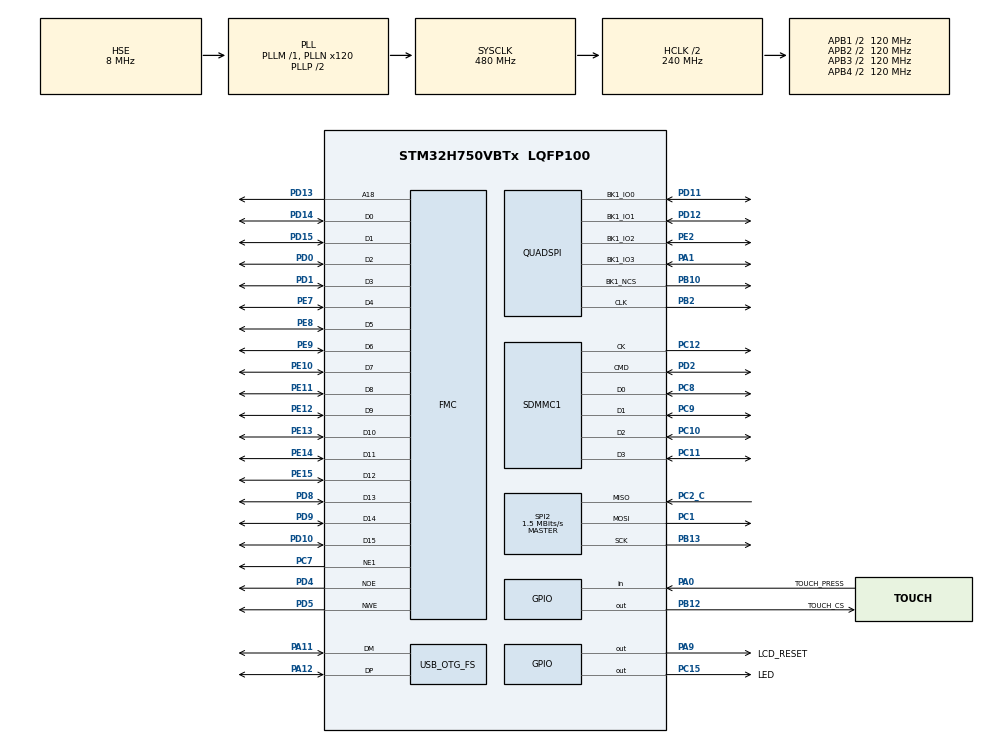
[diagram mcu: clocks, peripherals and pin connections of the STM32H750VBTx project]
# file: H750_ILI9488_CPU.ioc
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Mcu.Family=STM32H7
SH.FMC_D7_DA7.0=FMC_D7,16b-d1
RCC.CortexFreq_Value=480000000
SPI2.VirtualType=VM_MASTER
PB10.Mode=Single Bank 1
RCC.HPRE=RCC_HCLK_DIV2
SH.FMC_D14_DA14.0=FMC_D14,16b-d1
PH0-OSC_IN\ (PH0).Signal=RCC_OSC_IN
PC10.Signal=SDMMC1_D2
PC12.Signal=SDMMC1_CK
RCC.PLLFRACN=0
PA0.GPIO_Label=TOUCH_PRESS
SH.FMC_D6_DA6.0=FMC_D6,16b-d1
PA11.Mode=Device_Only
RCC.PLL2FRACN=0
SH.FMC_D5_DA5.0=FMC_D5,16b-d1
PB13.Signal=SPI2_SCK
SH.FMC_NWE.0=FMC_NWE,Lcd1
RCC.SYSCLKSource=RCC_SYSCLKSOURCE_PLLCLK
ProjectManager.StackSize=0x400
SH.FMC_D9_DA9.0=FMC_D9,16b-d1
PD13.Signal=FMC_A18
PA14\ (JTCK/SWCLK).Signal=DEBUG_JTCK-SWCLK
PA12.Signal=USB_OTG_FS_DP
SH.FMC_D11_DA11.0=FMC_D11,16b-d1
FMC.BankMapConfig=FMC_SWAPBMAP_SDRAM_SRAM
RCC.HCLKFreq_Value=240000000
PE2.Mode=Single Bank 1
PD4.Signal=FMC_NOE
PC7.Signal=FMC_NE1
PD0.Signal=FMC_D2_DA2
PD8.Signal=FMC_D13_DA13
PC2_C.Signal=SPI2_MISO
SPI2.BaudRatePrescaler=SPI_BAUDRATEPRESCALER_32
SH.FMC_A18.0=FMC_A18,A18_1
PH1-OSC_OUT\ (PH1).Mode=HSE-External-Oscillator
RCC.HSE_VALUE=8000000
PB2.Signal=QUADSPI_CLK
SH.FMC_D8_DA8.0=FMC_D8,16b-d1
RCC.DIVM1=1
PB12.GPIO_Label=TOUCH_CS
SH.FMC_D2_DA2.0=FMC_D2,16b-d1
FMC.BusTurnAroundDuration1=1
PE13.Signal=FMC_D10_DA10
FMC.DataSetupTime1=2
PE9.Signal=FMC_D6_DA6
PC9.Mode=SD_4_bits_Wide_bus
SPI2.CalculateBaudRate=1.5 MBits/s
PE2.Signal=QUADSPI_BK1_IO2
PA14\ (JTCK/SWCLK).Mode=Serial_Wire
SH.FMC_D1_DA1.0=FMC_D1,16b-d1
PE10.Signal=FMC_D7_DA7
PA0.Signal=GPIO_Input
RCC.APB3Freq_Value=120000000
Mcu.Package=LQFP100
SPI2.Mode=SPI_MODE_MASTER
SH.FMC_D0_DA0.0=FMC_D0,16b-d1
RCC.D1PPRE=RCC_APB3_DIV2
PD12.Signal=QUADSPI_BK1_IO1
FMC.ExtendedDataSetupTime1=5
USB_OTG_FS.VirtualMode=Device_Only
SH.FMC_D4_DA4.0=FMC_D4,16b-d1
PC11.Mode=SD_4_bits_Wide_bus
FMC.ExtendedAddressSetupTime1=3
RCC.APB4Freq_Value=120000000
SPI2.Direction=SPI_DIRECTION_2LINES
PB13.Mode=Full_Duplex_Master
PE7.Signal=FMC_D4_DA4
PH0-OSC_IN\ (PH0).Mode=HSE-External-Oscillator
PD15.Signal=FMC_D1_DA1
SH.FMC_D3_DA3.0=FMC_D3,16b-d1
RCC.DIVQ1=20
FMC.ExtendedMode1=FMC_EXTENDED_MODE_ENABLE
PA13\ (JTMS/SWDIO).Mode=Serial_Wire
PC11.Signal=SDMMC1_D3
PA9.GPIO_Label=LCD_RESET
SH.FMC_D10_DA10.0=FMC_D10,16b-d1
PC8.Signal=SDMMC1_D0
PC10.Mode=SD_4_bits_Wide_bus
PD1.Signal=FMC_D3_DA3
RCC.D2PPRE2=RCC_APB2_DIV2
RCC.D2PPRE1=RCC_APB1_DIV2
PD9.Signal=FMC_D14_DA14
PD5.Signal=FMC_NWE
VP_RNG_VS_RNG.Mode=RNG_Activate
SH.FMC_NOE.0=FMC_NOE,Lcd1
PH1-OSC_OUT\ (PH1).Signal=RCC_OSC_OUT
PD10.Signal=FMC_D15_DA15
FMC.AddressSetupTime1=1
ProjectManager.TargetToolchain=Makefile
PC15-OSC32_OUT\ (OSC32_OUT).Signal=GPIO_Output
SH.FMC_D15_DA15.0=FMC_D15,16b-d1
SH.FMC_D13_DA13.0=FMC_D13,16b-d1
PA9.Signal=GPIO_Output
RCC.DIVN1=120
PC2_C.Mode=Full_Duplex_Master
FMC.ExtendedBusTurnAroundDuration1=3
RCC.USBFreq_Value=48000000
PE11.Signal=FMC_D8_DA8
PA1.Signal=QUADSPI_BK1_IO3
PB10.Signal=QUADSPI_BK1_NCS
PD2.Mode=SD_4_bits_Wide_bus
PC12.Mode=SD_4_bits_Wide_bus
board=custom
RCC.APB2Freq_Value=120000000
PA1.Mode=Single Bank 1
PE14.Signal=FMC_D11_DA11
PE15.Signal=FMC_D12_DA12
PE8.Signal=FMC_D5_DA5
RCC.ADCFreq_Value=16125000
SH.FMC_D12_DA12.0=FMC_D12,16b-d1
Mcu.Name=STM32H750VBTx
PE12.Signal=FMC_D9_DA9
PD14.Signal=FMC_D0_DA0
PC8.Mode=SD_4_bits_Wide_bus
RCC.SYSCLKFreq_VALUE=480000000
PD12.Mode=Single Bank 1
PA12.Mode=Device_Only
PC15-OSC32_OUT\ (OSC32_OUT).GPIO_Label=LED
PD11.Signal=QUADSPI_BK1_IO0
PB2.Mode=Single Bank 1
PA11.Signal=USB_OTG_FS_DM
ProjectManager.HeapSize=0x200
PD11.Mode=Single Bank 1
NVIC.PriorityGroup=NVIC_PRIORITYGROUP_4
RCC.D3PPRE=RCC_APB4_DIV2
SPI2.DataSize=SPI_DATASIZE_8BIT
PC9.Signal=SDMMC1_D1
PC7.Mode=NorPsramChipSelect1_1
PD2.Signal=SDMMC1_CMD
RCC.APB1Freq_Value=120000000
PC1.Signal=SPI2_MOSI
PB12.Signal=GPIO_Output
PA13\ (JTMS/SWDIO).Signal=DEBUG_JTMS-SWDIO
PC1.Mode=Full_Duplex_Master

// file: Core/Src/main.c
/* USER CODE BEGIN Header */
/**
  ******************************************************************************
  * @file           : main.c
  * @brief          : Main program body
  ******************************************************************************
  * @attention
  *
  * <h2><center>&copy; Copyright (c) 2020 STMicroelectronics.
  * All rights reserved.</center></h2>
  *
  * This software component is licensed by ST under BSD 3-Clause license,
  * the "License"; You may not use this file except in compliance with the
  * License. You may obtain a copy of the License at:
  *                        opensource.org/licenses/BSD-3-Clause
  *
  ******************************************************************************
  */
/* USER CODE END Header */
#include "main.h"
#include "quadspi.h"
#include "rng.h"
#include "sdmmc.h"
#include "spi.h"
#include "usb_otg.h"
#include "gpio.h"
#include "fmc.h"

/* USER CODE BEGIN Includes */
#include <stdio.h>
#include "H750_ILI9488.h"
#include "TouchPanel.h"
#include "Hangle.h"

/* USER CODE END Includes */

void SystemClock_Config(void);

/* USER CODE BEGIN 0 */
void HAL_SYSTICK_Callback(void)
{
	static int cnt = -1000;

	cnt++;
	if(cnt > 500)
	{
		cnt = 0;

		HAL_GPIO_TogglePin(LED_GPIO_Port, LED_Pin);
	}
}

void Demo_Line(void)
{
	uint16_t i, x1, y1, x2, y2, color, w, h;
	uint32_t rn;

	w = LCD_GetWidth();
	h = LCD_GetHeight();

	LCD_Clear(WHITE);

	for(i = 0; i < 5000; i++)
	{
		HAL_RNG_GenerateRandomNumber(&hrng, &rn);
		x1 = rn % w;
		HAL_RNG_GenerateRandomNumber(&hrng, &rn);
		x2 = rn % w;
		HAL_RNG_GenerateRandomNumber(&hrng, &rn);
		y1 = rn % h;
		HAL_RNG_GenerateRandomNumber(&hrng, &rn);
		y2 = rn % h;
		HAL_RNG_GenerateRandomNumber(&hrng, &rn);
		color = rn % 0x10000;

		LCD_draw_line(x1, y1, x2, y2, color);
	}
}

void Demo_Circle(void)
{
	uint16_t i, x, y, r, color, w, h;
	uint32_t rn;

	w = LCD_GetWidth();
	h = LCD_GetHeight();

	LCD_Clear(WHITE);

	for(i = 0; i < 5000; i++)
	{
		HAL_RNG_GenerateRandomNumber(&hrng, &rn);
		x = rn % w;
		HAL_RNG_GenerateRandomNumber(&hrng, &rn);
		y = rn % h;
		HAL_RNG_GenerateRandomNumber(&hrng, &rn);
		r = rn % 100;
		HAL_RNG_GenerateRandomNumber(&hrng, &rn);
		color = rn % 0x10000;

		LCD_draw_circle(x, y, r, color);
	}
}

void Demo_Fill(void)
{
	uint16_t i, x1, y1, x2, y2, color, w, h;
	uint32_t rn;

	w = LCD_GetWidth();
	h = LCD_GetHeight();

	LCD_Clear(WHITE);

	for(i = 0; i < 5000; i++)
	{
		HAL_RNG_GenerateRandomNumber(&hrng, &rn);
		x1 = rn % w;
		HAL_RNG_GenerateRandomNumber(&hrng, &rn);
		x2 = rn % w;
		HAL_RNG_GenerateRandomNumber(&hrng, &rn);
		y1 = rn % h;
		HAL_RNG_GenerateRandomNumber(&hrng, &rn);
		y2 = rn % h;
		HAL_RNG_GenerateRandomNumber(&hrng, &rn);
		color = rn % 0x10000;

		LCD_fill(x1, y1, x2, y2, color);
	}
}

void Demo_Text(void)
{
	LCD_Clear(YELLOW);

	LCD_puts26x48(0, 0,   (uint8_t *)"Hello World.", TFT_STRING_MODE_BACKGROUND);
	LCD_puts18x32(0, 48,  (uint8_t *)"Hello World.", TFT_STRING_MODE_BACKGROUND);
	LCD_puts14x24(0, 80,  (uint8_t *)"Hello World.", TFT_STRING_MODE_BACKGROUND);
	LCD_puts8x16( 0, 104, (uint8_t *)"Hello World.", TFT_STRING_MODE_BACKGROUND);

	LCD_SetTextColor(BLUE);
	LCD_SetBackgroundColor(GREEN);
	LCD_puts14x24(0, 120,  (uint8_t *)"Blue Text.", TFT_STRING_MODE_BACKGROUND);
	LCD_puts14x24(0, 150,  (uint8_t *)"No Background Text.", TFT_STRING_MODE_NO_BACKGROUND);

	DisplayHangle(0, 180, "한글입니다. ABCDEFG");
}

/* USER CODE END 0 */

int main(void)
{
  /* USER CODE BEGIN 1 */
	char str[100];
	Point Pos, old_Pos;

  /* USER CODE END 1 */

  /* MCU Configuration--------------------------------------------------------*/

  /* Reset of all peripherals, Initializes the Flash interface and the Systick. */
  HAL_Init();

  /* Configure the system clock */
  SystemClock_Config();

  /* Initialize all configured peripherals */
  MX_GPIO_Init();
  MX_FMC_Init();
  MX_QUADSPI_Init();
  MX_SDMMC1_SD_Init();
  MX_USB_OTG_FS_PCD_Init();
  MX_SPI2_Init();
  MX_RNG_Init();
  /* USER CODE BEGIN 2 */
  LCD_Init();

  volatile uint32_t id = LCD_Read_ID();
  (void)id;

  LCD_Clear(RED);
  HAL_Delay(1000);
  LCD_Clear(GREEN);
  HAL_Delay(1000);
  LCD_Clear(BLUE);
  HAL_Delay(1000);

  Demo_Line();
  HAL_Delay(1000);
  Demo_Circle();
  HAL_Delay(1000);
  Demo_Fill();
  HAL_Delay(1000);
  Demo_Text();
  HAL_Delay(2500);

  /* USER CODE END 2 */

  /* Infinite loop */
  /* USER CODE BEGIN WHILE */
  LCD_Clear(WHITE);
  LCD_puts14x24(0, 0, (uint8_t *)"TOUCH TEST ", TFT_STRING_MODE_BACKGROUND);

  while (1)
  {
  		//TP_GetXY(&x, &y);
  	if(GetTouchStatus(&Pos))
  	{
  		if((old_Pos.x != Pos.x) || (old_Pos.y != Pos.y))
  		{
  			LCD_draw_line(0, old_Pos.y, LCD_GetWidth(), old_Pos.y, WHITE);
  			LCD_draw_line(old_Pos.x, 0, old_Pos.x, LCD_GetHeight(), WHITE);

  			old_Pos = Pos;

  			LCD_draw_line(0, Pos.y, LCD_GetWidth(), Pos.y, BLACK);
  			LCD_draw_line(Pos.x, 0, Pos.x, LCD_GetHeight(), BLACK);

  			sprintf(str, "X:%4d Y:%4d", Pos.x, Pos.y);
  			LCD_puts14x24(0, 0, (uint8_t *)str, TFT_STRING_MODE_BACKGROUND);
  		}
  	}
  	HAL_Delay(50);

    /* USER CODE END WHILE */

  }
}

void SystemClock_Config(void)
{
  RCC_OscInitTypeDef RCC_OscInitStruct = {0};
  RCC_ClkInitTypeDef RCC_ClkInitStruct = {0};
  RCC_PeriphCLKInitTypeDef PeriphClkInitStruct = {0};

  /** Supply configuration update enable
  */
  HAL_PWREx_ConfigSupply(PWR_LDO_SUPPLY);
  /** Configure the main internal regulator output voltage
  */
  __HAL_PWR_VOLTAGESCALING_CONFIG(PWR_REGULATOR_VOLTAGE_SCALE0);

  while(!__HAL_PWR_GET_FLAG(PWR_FLAG_VOSRDY)) {}
  /** Initializes the RCC Oscillators according to the specified parameters
  * in the RCC_OscInitTypeDef structure.
  */
  RCC_OscInitStruct.OscillatorType = RCC_OSCILLATORTYPE_HSI48|RCC_OSCILLATORTYPE_HSE;
  RCC_OscInitStruct.HSEState = RCC_HSE_ON;
  RCC_OscInitStruct.HSI48State = RCC_HSI48_ON;
  RCC_OscInitStruct.PLL.PLLState = RCC_PLL_ON;
  RCC_OscInitStruct.PLL.PLLSource = RCC_PLLSOURCE_HSE;
  RCC_OscInitStruct.PLL.PLLM = 1;
  RCC_OscInitStruct.PLL.PLLN = 120;
  RCC_OscInitStruct.PLL.PLLP = 2;
  RCC_OscInitStruct.PLL.PLLQ = 20;
  RCC_OscInitStruct.PLL.PLLR = 2;
  RCC_OscInitStruct.PLL.PLLRGE = RCC_PLL1VCIRANGE_3;
  RCC_OscInitStruct.PLL.PLLVCOSEL = RCC_PLL1VCOWIDE;
  RCC_OscInitStruct.PLL.PLLFRACN = 0;
  if (HAL_RCC_OscConfig(&RCC_OscInitStruct) != HAL_OK)
  {
    Error_Handler();
  }
  /** Initializes the CPU, AHB and APB buses clocks
  */
  RCC_ClkInitStruct.ClockType = RCC_CLOCKTYPE_HCLK|RCC_CLOCKTYPE_SYSCLK
                              |RCC_CLOCKTYPE_PCLK1|RCC_CLOCKTYPE_PCLK2
                              |RCC_CLOCKTYPE_D3PCLK1|RCC_CLOCKTYPE_D1PCLK1;
  RCC_ClkInitStruct.SYSCLKSource = RCC_SYSCLKSOURCE_PLLCLK;
  RCC_ClkInitStruct.SYSCLKDivider = RCC_SYSCLK_DIV1;
  RCC_ClkInitStruct.AHBCLKDivider = RCC_HCLK_DIV2;
  RCC_ClkInitStruct.APB3CLKDivider = RCC_APB3_DIV2;
  RCC_ClkInitStruct.APB1CLKDivider = RCC_APB1_DIV2;
  RCC_ClkInitStruct.APB2CLKDivider = RCC_APB2_DIV2;
  RCC_ClkInitStruct.APB4CLKDivider = RCC_APB4_DIV2;

  if (HAL_RCC_ClockConfig(&RCC_ClkInitStruct, FLASH_LATENCY_4) != HAL_OK)
  {
    Error_Handler();
  }
  PeriphClkInitStruct.PeriphClockSelection = RCC_PERIPHCLK_RNG|RCC_PERIPHCLK_SPI2
                              |RCC_PERIPHCLK_SDMMC|RCC_PERIPHCLK_USB
                              |RCC_PERIPHCLK_QSPI|RCC_PERIPHCLK_FMC;
  PeriphClkInitStruct.FmcClockSelection = RCC_FMCCLKSOURCE_D1HCLK;
  PeriphClkInitStruct.QspiClockSelection = RCC_QSPICLKSOURCE_D1HCLK;
  PeriphClkInitStruct.SdmmcClockSelection = RCC_SDMMCCLKSOURCE_PLL;
  PeriphClkInitStruct.Spi123ClockSelection = RCC_SPI123CLKSOURCE_PLL;
  PeriphClkInitStruct.RngClockSelection = RCC_RNGCLKSOURCE_HSI48;
  PeriphClkInitStruct.UsbClockSelection = RCC_USBCLKSOURCE_PLL;
  if (HAL_RCCEx_PeriphCLKConfig(&PeriphClkInitStruct) != HAL_OK)
  {
    Error_Handler();
  }
  /** Enable USB Voltage detector
  */
  HAL_PWREx_EnableUSBVoltageDetector();
}

void Error_Handler(void)
{
}

/************************ (C) COPYRIGHT STMicroelectronics *****END OF FILE****/
